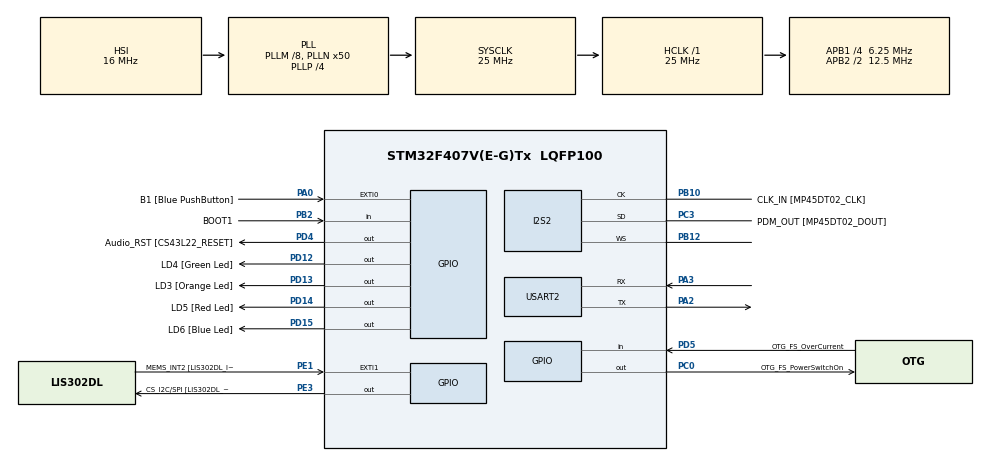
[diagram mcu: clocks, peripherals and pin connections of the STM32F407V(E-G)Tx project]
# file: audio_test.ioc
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Dma.Request0=SPI2_RX
Dma.SPI2_RX.0.Direction=DMA_PERIPH_TO_MEMORY
Dma.SPI2_RX.0.FIFOMode=DMA_FIFOMODE_DISABLE
Dma.SPI2_RX.0.Instance=DMA1_Stream3
Dma.SPI2_RX.0.MemDataAlignment=DMA_MDATAALIGN_HALFWORD
Dma.SPI2_RX.0.MemInc=DMA_MINC_ENABLE
Dma.SPI2_RX.0.Mode=DMA_CIRCULAR
Dma.SPI2_RX.0.PeriphDataAlignment=DMA_PDATAALIGN_HALFWORD
Dma.SPI2_RX.0.PeriphInc=DMA_PINC_DISABLE
Dma.SPI2_RX.0.Priority=DMA_PRIORITY_LOW
I2S2.AudioFreq=I2S_AUDIOFREQ_32K
I2S2.CPOL=I2S_CPOL_HIGH
I2S2.ErrorAudioFreq=-0.26 %
I2S2.FullDuplexMode=I2S_FULLDUPLEXMODE_DISABLE
I2S2.Instance=SPI$Index
I2S2.Mode=I2S_MODE_MASTER_RX
I2S2.RealAudioFreq=31.914 KHz
I2S2.Standard=I2S_STANDARD_LSB
I2S2.VirtualMode=I2S_MODE_MASTER
Mcu.Family=STM32F4
Mcu.Name=STM32F407V(E-G)Tx
Mcu.Package=LQFP100
NVIC.DMA1_Stream3_IRQn=true\:0\:0\:false\:false\:true\:false\:true\:true
NVIC.PriorityGroup=NVIC_PRIORITYGROUP_4
NVIC.TIM7_IRQn=true\:0\:0\:false\:false\:true\:false\:true\:true
NVIC.TimeBase=TIM7_IRQn
NVIC.TimeBaseIP=TIM7
PA0-WKUP.GPIO_Label=B1 [Blue PushButton]
PA0-WKUP.Signal=GPXTI0
PA10.GPIO_Label=OTG_FS_ID
PA10.GPIO_Mode=GPIO_MODE_AF_PP
PA10.GPIO_PuPd=GPIO_NOPULL
PA10.GPIO_Speed=GPIO_SPEED_FREQ_LOW
PA10.Signal=USB_OTG_FS_ID
PA11.GPIO_Label=OTG_FS_DM
PA11.GPIO_Mode=GPIO_MODE_AF_PP
PA11.GPIO_PuPd=GPIO_NOPULL
PA11.GPIO_Speed=GPIO_SPEED_FREQ_LOW
PA11.Signal=USB_OTG_FS_DM
PA12.GPIO_Label=OTG_FS_DP
PA12.GPIO_Mode=GPIO_MODE_AF_PP
PA12.GPIO_PuPd=GPIO_NOPULL
PA12.GPIO_Speed=GPIO_SPEED_FREQ_LOW
PA12.Signal=USB_OTG_FS_DP
PA13.GPIO_Label=SWDIO
PA13.Mode=Serial_Wire
PA13.Signal=SYS_JTMS-SWDIO
PA14.GPIO_Label=SWCLK
PA14.Mode=Serial_Wire
PA14.Signal=SYS_JTCK-SWCLK
PA2.Mode=Asynchronous
PA2.Signal=USART2_TX
PA3.Mode=Asynchronous
PA3.Signal=USART2_RX
PA4.GPIO_Label=I2S3_WS [CS43L22_LRCK]
PA4.GPIO_Mode=GPIO_MODE_AF_PP
PA4.GPIO_PuPd=GPIO_NOPULL
PA4.GPIO_Speed=GPIO_SPEED_FREQ_LOW
PA4.Signal=I2S3_WS
PA5.GPIO_Label=SPI1_SCK [LIS302DL_SCL/SPC]
PA5.GPIO_Mode=GPIO_MODE_AF_PP
PA5.GPIO_PuPd=GPIO_NOPULL
PA5.GPIO_Speed=GPIO_SPEED_FREQ_LOW
PA5.Signal=SPI1_SCK
PA6.GPIO_Label=SPI1_MISO [LIS302DL_SDO]
PA6.GPIO_Mode=GPIO_MODE_AF_PP
PA6.GPIO_PuPd=GPIO_NOPULL
PA6.GPIO_Speed=GPIO_SPEED_FREQ_LOW
PA6.Signal=SPI1_MISO
PA7.GPIO_Label=SPI1_MOSI [LIS302DL_SDA/SDI/SDO]
PA7.GPIO_Mode=GPIO_MODE_AF_PP
PA7.GPIO_PuPd=GPIO_NOPULL
PA7.GPIO_Speed=GPIO_SPEED_FREQ_LOW
PA7.Signal=SPI1_MOSI
PA9.GPIO_Label=VBUS_FS
PA9.GPIO_Mode=GPIO_MODE_INPUT
PA9.GPIO_PuPd=GPIO_NOPULL
PA9.Signal=USB_OTG_FS_VBUS
PB10.GPIO_Label=CLK_IN [MP45DT02_CLK]
PB10.GPIO_Mode=GPIO_MODE_AF_PP
PB10.GPIO_PuPd=GPIO_NOPULL
PB10.GPIO_Speed=GPIO_SPEED_FREQ_LOW
PB10.Mode=Half_Duplex_Master
PB10.Signal=I2S2_CK
PB12.Mode=Half_Duplex_Master
PB12.Signal=I2S2_WS
PB2.GPIO_Label=BOOT1
PB2.GPIO_Mode=GPIO_MODE_INPUT
PB2.GPIO_PuPd=GPIO_NOPULL
PB2.Signal=GPIO_Input
PB3.GPIO_Label=SWO
PB3.Signal=SYS_JTDO-SWO
PB6.GPIO_Label=Audio_SCL [CS43L22_SCL]
PB6.GPIO_Mode=GPIO_MODE_AF_OD
PB6.GPIO_PuPd=GPIO_NOPULL
PB6.GPIO_Speed=GPIO_SPEED_FREQ_LOW
PB6.Signal=I2C1_SCL
PB9.GPIO_Label=Audio_SDA [CS43L22_SDA]
PB9.GPIO_Mode=GPIO_MODE_AF_OD
PB9.GPIO_PuPd=GPIO_NOPULL
PB9.GPIO_Speed=GPIO_SPEED_FREQ_LOW
PB9.Signal=I2C1_SDA
PC0.GPIO_Label=OTG_FS_PowerSwitchOn
PC0.GPIO_PuPd=GPIO_NOPULL
PC0.GPIO_Speed=GPIO_SPEED_FREQ_LOW
PC0.PinState=GPIO_PIN_SET
PC0.Signal=GPIO_Output
PC10.GPIO_Label=I2S3_SCK [CS43L22_SCLK]
PC10.GPIO_Mode=GPIO_MODE_AF_PP
PC10.GPIO_PuPd=GPIO_NOPULL
PC10.GPIO_Speed=GPIO_SPEED_FREQ_LOW
PC10.Signal=I2S3_CK
PC12.GPIO_Label=I2S3_SD [CS43L22_SDIN]
PC12.GPIO_Mode=GPIO_MODE_AF_PP
PC12.GPIO_PuPd=GPIO_NOPULL
PC12.GPIO_Speed=GPIO_SPEED_FREQ_LOW
PC12.Signal=I2S3_SD
PC14-OSC32_IN.GPIO_Label=PC14-OSC32_IN
PC14-OSC32_IN.Signal=RCC_OSC32_IN
PC15-OSC32_OUT.GPIO_Label=PC15-OSC32_OUT
PC15-OSC32_OUT.Signal=RCC_OSC32_OUT
PC3.GPIO_Label=PDM_OUT [MP45DT02_DOUT]
PC3.GPIO_Mode=GPIO_MODE_AF_PP
PC3.GPIO_PuPd=GPIO_NOPULL
PC3.GPIO_Speed=GPIO_SPEED_FREQ_LOW
PC3.Mode=Half_Duplex_Master
PC3.Signal=I2S2_SD
PC7.GPIO_Label=I2S3_MCK [CS43L22_MCLK]
PC7.GPIO_Mode=GPIO_MODE_AF_PP
PC7.GPIO_PuPd=GPIO_NOPULL
PC7.GPIO_Speed=GPIO_SPEED_FREQ_LOW
PC7.Signal=I2S3_MCK
PD12.GPIO_Label=LD4 [Green Led]
PD12.GPIO_PuPd=GPIO_NOPULL
PD12.GPIO_Speed=GPIO_SPEED_FREQ_LOW
PD12.Signal=GPIO_Output
PD13.GPIO_Label=LD3 [Orange Led]
PD13.GPIO_PuPd=GPIO_NOPULL
PD13.GPIO_Speed=GPIO_SPEED_FREQ_LOW
PD13.Signal=GPIO_Output
PD14.GPIO_Label=LD5 [Red Led]
PD14.GPIO_PuPd=GPIO_NOPULL
PD14.GPIO_Speed=GPIO_SPEED_FREQ_LOW
PD14.Signal=GPIO_Output
PD15.GPIO_Label=LD6 [Blue Led]
PD15.GPIO_PuPd=GPIO_NOPULL
PD15.GPIO_Speed=GPIO_SPEED_FREQ_LOW
PD15.Signal=GPIO_Output
PD4.GPIO_Label=Audio_RST [CS43L22_RESET]
PD4.GPIO_PuPd=GPIO_NOPULL
PD4.GPIO_Speed=GPIO_SPEED_FREQ_LOW
PD4.Signal=GPIO_Output
PD5.GPIO_Label=OTG_FS_OverCurrent
PD5.GPIO_Mode=GPIO_MODE_INPUT
PD5.GPIO_PuPd=GPIO_NOPULL
PD5.Signal=GPIO_Input
PDM2PCM.CHANNEL1_endianness=PDM_FILTER_ENDIANNESS_LE
PDM2PCM.CHANNEL1_in_ptr_channels=1
PDM2PCM.CHANNEL1_mic_gain=24
PE1.GPIO_Label=MEMS_INT2 [LIS302DL_INT2]
PE1.GPIO_ModeDefaultEXTI=GPIO_MODE_EVT_RISING
PE1.GPIO_PuPd=GPIO_NOPULL
PE1.Signal=GPXTI1
PE3.GPIO_Label=CS_I2C/SPI [LIS302DL_CS_I2C/SPI]
PE3.GPIO_PuPd=GPIO_NOPULL
PE3.GPIO_Speed=GPIO_SPEED_FREQ_LOW
PE3.Signal=GPIO_Output
PH0-OSC_IN.GPIO_Label=PH0-OSC_IN
PH0-OSC_IN.Mode=HSE-External-Oscillator
PH0-OSC_IN.Signal=RCC_OSC_IN
PH1-OSC_OUT.GPIO_Label=PH1-OSC_OUT
PH1-OSC_OUT.Mode=HSE-External-Oscillator
PH1-OSC_OUT.Signal=RCC_OSC_OUT
ProjectManager.HeapSize=0x200
ProjectManager.StackSize=0x400
ProjectManager.TargetToolchain=STM32CubeIDE
RCC.48MHZClocksFreq_Value=14285714.285714285
RCC.AHBFreq_Value=25000000
RCC.APB1CLKDivider=RCC_HCLK_DIV4
RCC.APB1Freq_Value=6250000
RCC.APB1TimFreq_Value=12500000
RCC.APB2CLKDivider=RCC_HCLK_DIV2
RCC.APB2Freq_Value=12500000
RCC.APB2TimFreq_Value=25000000
RCC.CortexFreq_Value=25000000
RCC.HCLKFreq_Value=25000000
RCC.HSE_VALUE=8000000
RCC.HSI_VALUE=16000000
RCC.LSE_VALUE=32768
RCC.PLLM=8
RCC.PLLN=50
RCC.PLLP=RCC_PLLP_DIV4
RCC.PLLQ=7
RCC.SYSCLKFreq_VALUE=25000000
RCC.SYSCLKSource=RCC_SYSCLKSOURCE_PLLCLK
RCC.VCOOutputFreq_Value=100000000
USART2.VirtualMode=VM_ASYNC
VP_CRC_VS_CRC.Mode=CRC_Activate
VP_PDM2PCM_VS_PDM2PCM.Mode=PDM2PCM_Channel
VP_SYS_VS_tim7.Mode=TIM7
board=STM32F407G-DISC1

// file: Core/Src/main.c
/* USER CODE BEGIN Header */
/**
  ******************************************************************************
  * @file           : main.c
  * @brief          : Main program body
  ******************************************************************************
  * @attention
  *
  * Copyright (c) 2026 STMicroelectronics.
  * All rights reserved.
  *
  * This software is licensed under terms that can be found in the LICENSE file
  * in the root directory of this software component.
  * If no LICENSE file comes with this software, it is provided AS-IS.
  *
  ******************************************************************************
  */
/* USER CODE END Header */
#include "main.h"
#include "pdm2pcm.h"

/* USER CODE BEGIN Includes */
#include "string.h"
/* USER CODE END Includes */

/* USER CODE BEGIN PTD */
typedef enum { STATE_IDLE, STATE_RECORDING, STATE_TRANSMITTING } AppState;
/* USER CODE END PTD */

/* USER CODE BEGIN PD */
#define PDM_BUF_SIZE        128    /* DMA circular buffer size (uint16) */
#define PCM_FRAME_SIZE      32     /* 16 stereo pairs per half-transfer (left+right) */
#define MONO_FRAME_SIZE     16     /* 16 mono samples actually stored per half-transfer */
#define RECORD_MS           3000   /* recording duration in milliseconds */
#define TOTAL_PCM_SAMPLES   (RECORD_MS * MONO_FRAME_SIZE)  /* 3000 x 16 = 48000 */
/* USER CODE END PD */

CRC_HandleTypeDef hcrc;

I2S_HandleTypeDef hi2s2;
DMA_HandleTypeDef hdma_spi2_rx;

UART_HandleTypeDef huart2;

/* USER CODE BEGIN PV */
uint16_t pdmBuffer[PDM_BUF_SIZE];              /* DMA fills this in circular mode */
int16_t  pcmRecording[TOTAL_PCM_SAMPLES];      /* stores converted PCM audio */
volatile uint32_t pcmIndex      = 0;
volatile uint8_t  recordingDone = 0;
volatile AppState appState      = STATE_IDLE;
/* USER CODE END PV */

void SystemClock_Config(void);
static void MX_GPIO_Init(void);
static void MX_DMA_Init(void);
static void MX_CRC_Init(void);
static void MX_USART2_UART_Init(void);
static void MX_I2S2_Init(void);

int main(void)
{

  /* MCU Configuration--------------------------------------------------------*/

  /* Reset of all peripherals, Initializes the Flash interface and the Systick. */
  HAL_Init();

  /* Configure the system clock */
  SystemClock_Config();

  /* Initialize all configured peripherals */
  MX_GPIO_Init();
  MX_DMA_Init();
  MX_CRC_Init();
  MX_USART2_UART_Init();
  MX_I2S2_Init();
  MX_PDM2PCM_Init();
  /* USER CODE BEGIN 2 */
  /* Red LED on = waiting for button press */
  HAL_GPIO_WritePin(GPIOD, LD5_Pin, GPIO_PIN_SET);
  /* USER CODE END 2 */

  /* Infinite loop */
  while (1)
  {

    /* USER CODE BEGIN 3 */
    switch (appState)
    {
      case STATE_IDLE:
        /* Poll User button (B1 = PA0, active high) */
        if (HAL_GPIO_ReadPin(B1_GPIO_Port, B1_Pin) == GPIO_PIN_SET)
        {
          HAL_Delay(50);  /* debounce */
          if (HAL_GPIO_ReadPin(B1_GPIO_Port, B1_Pin) == GPIO_PIN_SET)
          {
            HAL_GPIO_WritePin(GPIOD, LD5_Pin, GPIO_PIN_RESET); /* Red off */
            HAL_GPIO_WritePin(GPIOD, LD4_Pin, GPIO_PIN_SET);   /* Green on = recording */
            pcmIndex      = 0;
            recordingDone = 0;
            appState      = STATE_RECORDING;
            HAL_I2S_Receive_DMA(&hi2s2, pdmBuffer, PDM_BUF_SIZE);
            /* Wait for button release before continuing */
            while (HAL_GPIO_ReadPin(B1_GPIO_Port, B1_Pin) == GPIO_PIN_SET);
          }
        }
        break;

      case STATE_RECORDING:
        if (recordingDone)
        {
          HAL_I2S_DMAStop(&hi2s2);
          HAL_GPIO_WritePin(GPIOD, LD4_Pin, GPIO_PIN_RESET); /* Green off */
          appState = STATE_TRANSMITTING;
        }
        break;

      case STATE_TRANSMITTING:
      {
        uint32_t byteCount = TOTAL_PCM_SAMPLES * sizeof(int16_t);
        uint8_t header[8] = {
          'P', 'C', 'M', '!',
          (uint8_t)(byteCount),
          (uint8_t)(byteCount >> 8),
          (uint8_t)(byteCount >> 16),
          (uint8_t)(byteCount >> 24)
        };
        HAL_GPIO_WritePin(GPIOD, LD6_Pin, GPIO_PIN_SET);   /* Blue on = transmitting */
        HAL_UART_Transmit(&huart2, header, sizeof(header), HAL_MAX_DELAY);
        HAL_UART_Transmit(&huart2, (uint8_t*)pcmRecording, byteCount, HAL_MAX_DELAY);
        HAL_GPIO_WritePin(GPIOD, LD6_Pin, GPIO_PIN_RESET); /* Blue off */

        /* Blink orange 3 times = done */
        for (int i = 0; i < 3; i++)
        {
          HAL_GPIO_WritePin(GPIOD, LD3_Pin, GPIO_PIN_SET);
          HAL_Delay(150);
          HAL_GPIO_WritePin(GPIOD, LD3_Pin, GPIO_PIN_RESET);
          HAL_Delay(150);
        }

        HAL_GPIO_WritePin(GPIOD, LD5_Pin, GPIO_PIN_SET);   /* Red on = ready */
        appState = STATE_IDLE;
        break;
      }

      default:
        break;
    }
  }
  /* USER CODE END 3 */
}

void SystemClock_Config(void)
{
  RCC_OscInitTypeDef RCC_OscInitStruct = {0};
  RCC_ClkInitTypeDef RCC_ClkInitStruct = {0};

  /** Configure the main internal regulator output voltage
  */
  __HAL_RCC_PWR_CLK_ENABLE();
  __HAL_PWR_VOLTAGESCALING_CONFIG(PWR_REGULATOR_VOLTAGE_SCALE1);

  /** Initializes the RCC Oscillators according to the specified parameters
  * in the RCC_OscInitTypeDef structure.
  */
  RCC_OscInitStruct.OscillatorType = RCC_OSCILLATORTYPE_HSI;
  RCC_OscInitStruct.HSIState = RCC_HSI_ON;
  RCC_OscInitStruct.HSICalibrationValue = RCC_HSICALIBRATION_DEFAULT;
  RCC_OscInitStruct.PLL.PLLState = RCC_PLL_ON;
  RCC_OscInitStruct.PLL.PLLSource = RCC_PLLSOURCE_HSI;
  RCC_OscInitStruct.PLL.PLLM = 8;
  RCC_OscInitStruct.PLL.PLLN = 50;
  RCC_OscInitStruct.PLL.PLLP = RCC_PLLP_DIV4;
  RCC_OscInitStruct.PLL.PLLQ = 7;
  if (HAL_RCC_OscConfig(&RCC_OscInitStruct) != HAL_OK)
  {
    Error_Handler();
  }

  /** Initializes the CPU, AHB and APB buses clocks
  */
  RCC_ClkInitStruct.ClockType = RCC_CLOCKTYPE_HCLK|RCC_CLOCKTYPE_SYSCLK
                              |RCC_CLOCKTYPE_PCLK1|RCC_CLOCKTYPE_PCLK2;
  RCC_ClkInitStruct.SYSCLKSource = RCC_SYSCLKSOURCE_PLLCLK;
  RCC_ClkInitStruct.AHBCLKDivider = RCC_SYSCLK_DIV1;
  RCC_ClkInitStruct.APB1CLKDivider = RCC_HCLK_DIV4;
  RCC_ClkInitStruct.APB2CLKDivider = RCC_HCLK_DIV2;

  if (HAL_RCC_ClockConfig(&RCC_ClkInitStruct, FLASH_LATENCY_0) != HAL_OK)
  {
    Error_Handler();
  }
}

static void MX_CRC_Init(void)
{

  hcrc.Instance = CRC;
  if (HAL_CRC_Init(&hcrc) != HAL_OK)
  {
    Error_Handler();
  }
  __HAL_CRC_DR_RESET(&hcrc);

}

static void MX_I2S2_Init(void)
{

  hi2s2.Instance = SPI2;
  hi2s2.Init.Mode = I2S_MODE_MASTER_RX;
  hi2s2.Init.Standard = I2S_STANDARD_LSB;
  hi2s2.Init.DataFormat = I2S_DATAFORMAT_16B;
  hi2s2.Init.MCLKOutput = I2S_MCLKOUTPUT_DISABLE;
  hi2s2.Init.AudioFreq = I2S_AUDIOFREQ_32K;
  hi2s2.Init.CPOL = I2S_CPOL_HIGH;
  hi2s2.Init.ClockSource = I2S_CLOCK_PLL;
  hi2s2.Init.FullDuplexMode = I2S_FULLDUPLEXMODE_DISABLE;
  if (HAL_I2S_Init(&hi2s2) != HAL_OK)
  {
    Error_Handler();
  }

}

static void MX_USART2_UART_Init(void)
{

  huart2.Instance = USART2;
  huart2.Init.BaudRate = 115200;
  huart2.Init.WordLength = UART_WORDLENGTH_8B;
  huart2.Init.StopBits = UART_STOPBITS_1;
  huart2.Init.Parity = UART_PARITY_NONE;
  huart2.Init.Mode = UART_MODE_TX_RX;
  huart2.Init.HwFlowCtl = UART_HWCONTROL_NONE;
  huart2.Init.OverSampling = UART_OVERSAMPLING_16;
  if (HAL_UART_Init(&huart2) != HAL_OK)
  {
    Error_Handler();
  }

}

static void MX_DMA_Init(void)
{

  /* DMA controller clock enable */
  __HAL_RCC_DMA1_CLK_ENABLE();

  /* DMA interrupt init */
  /* DMA1_Stream3_IRQn interrupt configuration */
  HAL_NVIC_SetPriority(DMA1_Stream3_IRQn, 0, 0);
  HAL_NVIC_EnableIRQ(DMA1_Stream3_IRQn);

}

static void MX_GPIO_Init(void)
{
  GPIO_InitTypeDef GPIO_InitStruct = {0};

  /* GPIO Ports Clock Enable */
  __HAL_RCC_GPIOE_CLK_ENABLE();
  __HAL_RCC_GPIOC_CLK_ENABLE();
  __HAL_RCC_GPIOH_CLK_ENABLE();
  __HAL_RCC_GPIOA_CLK_ENABLE();
  __HAL_RCC_GPIOB_CLK_ENABLE();
  __HAL_RCC_GPIOD_CLK_ENABLE();

  /*Configure GPIO pin Output Level */
  HAL_GPIO_WritePin(CS_I2C_SPI_GPIO_Port, CS_I2C_SPI_Pin, GPIO_PIN_RESET);

  /*Configure GPIO pin Output Level */
  HAL_GPIO_WritePin(OTG_FS_PowerSwitchOn_GPIO_Port, OTG_FS_PowerSwitchOn_Pin, GPIO_PIN_SET);

  /*Configure GPIO pin Output Level */
  HAL_GPIO_WritePin(GPIOD, LD4_Pin|LD3_Pin|LD5_Pin|LD6_Pin
                          |Audio_RST_Pin, GPIO_PIN_RESET);

  /*Configure GPIO pin : CS_I2C_SPI_Pin */
  GPIO_InitStruct.Pin = CS_I2C_SPI_Pin;
  GPIO_InitStruct.Mode = GPIO_MODE_OUTPUT_PP;
  GPIO_InitStruct.Pull = GPIO_NOPULL;
  GPIO_InitStruct.Speed = GPIO_SPEED_FREQ_LOW;
  HAL_GPIO_Init(CS_I2C_SPI_GPIO_Port, &GPIO_InitStruct);

  /*Configure GPIO pin : OTG_FS_PowerSwitchOn_Pin */
  GPIO_InitStruct.Pin = OTG_FS_PowerSwitchOn_Pin;
  GPIO_InitStruct.Mode = GPIO_MODE_OUTPUT_PP;
  GPIO_InitStruct.Pull = GPIO_NOPULL;
  GPIO_InitStruct.Speed = GPIO_SPEED_FREQ_LOW;
  HAL_GPIO_Init(OTG_FS_PowerSwitchOn_GPIO_Port, &GPIO_InitStruct);

  /*Configure GPIO pin : B1_Pin */
  GPIO_InitStruct.Pin = B1_Pin;
  GPIO_InitStruct.Mode = GPIO_MODE_IT_RISING;
  GPIO_InitStruct.Pull = GPIO_NOPULL;
  HAL_GPIO_Init(B1_GPIO_Port, &GPIO_InitStruct);

  /*Configure GPIO pin : I2S3_WS_Pin */
  GPIO_InitStruct.Pin = I2S3_WS_Pin;
  GPIO_InitStruct.Mode = GPIO_MODE_AF_PP;
  GPIO_InitStruct.Pull = GPIO_NOPULL;
  GPIO_InitStruct.Speed = GPIO_SPEED_FREQ_LOW;
  GPIO_InitStruct.Alternate = GPIO_AF6_SPI3;
  HAL_GPIO_Init(I2S3_WS_GPIO_Port, &GPIO_InitStruct);

  /*Configure GPIO pins : SPI1_SCK_Pin SPI1_MISO_Pin SPI1_MOSI_Pin */
  GPIO_InitStruct.Pin = SPI1_SCK_Pin|SPI1_MISO_Pin|SPI1_MOSI_Pin;
  GPIO_InitStruct.Mode = GPIO_MODE_AF_PP;
  GPIO_InitStruct.Pull = GPIO_NOPULL;
  GPIO_InitStruct.Speed = GPIO_SPEED_FREQ_LOW;
  GPIO_InitStruct.Alternate = GPIO_AF5_SPI1;
  HAL_GPIO_Init(GPIOA, &GPIO_InitStruct);

  /*Configure GPIO pin : BOOT1_Pin */
  GPIO_InitStruct.Pin = BOOT1_Pin;
  GPIO_InitStruct.Mode = GPIO_MODE_INPUT;
  GPIO_InitStruct.Pull = GPIO_NOPULL;
  HAL_GPIO_Init(BOOT1_GPIO_Port, &GPIO_InitStruct);

  /*Configure GPIO pins : LD4_Pin LD3_Pin LD5_Pin LD6_Pin
                           Audio_RST_Pin */
  GPIO_InitStruct.Pin = LD4_Pin|LD3_Pin|LD5_Pin|LD6_Pin
                          |Audio_RST_Pin;
  GPIO_InitStruct.Mode = GPIO_MODE_OUTPUT_PP;
  GPIO_InitStruct.Pull = GPIO_NOPULL;
  GPIO_InitStruct.Speed = GPIO_SPEED_FREQ_LOW;
  HAL_GPIO_Init(GPIOD, &GPIO_InitStruct);

  /*Configure GPIO pins : I2S3_MCK_Pin I2S3_SCK_Pin I2S3_SD_Pin */
  GPIO_InitStruct.Pin = I2S3_MCK_Pin|I2S3_SCK_Pin|I2S3_SD_Pin;
  GPIO_InitStruct.Mode = GPIO_MODE_AF_PP;
  GPIO_InitStruct.Pull = GPIO_NOPULL;
  GPIO_InitStruct.Speed = GPIO_SPEED_FREQ_LOW;
  GPIO_InitStruct.Alternate = GPIO_AF6_SPI3;
  HAL_GPIO_Init(GPIOC, &GPIO_InitStruct);

  /*Configure GPIO pin : VBUS_FS_Pin */
  GPIO_InitStruct.Pin = VBUS_FS_Pin;
  GPIO_InitStruct.Mode = GPIO_MODE_INPUT;
  GPIO_InitStruct.Pull = GPIO_NOPULL;
  HAL_GPIO_Init(VBUS_FS_GPIO_Port, &GPIO_InitStruct);

  /*Configure GPIO pins : OTG_FS_ID_Pin OTG_FS_DM_Pin OTG_FS_DP_Pin */
  GPIO_InitStruct.Pin = OTG_FS_ID_Pin|OTG_FS_DM_Pin|OTG_FS_DP_Pin;
  GPIO_InitStruct.Mode = GPIO_MODE_AF_PP;
  GPIO_InitStruct.Pull = GPIO_NOPULL;
  GPIO_InitStruct.Speed = GPIO_SPEED_FREQ_LOW;
  GPIO_InitStruct.Alternate = GPIO_AF10_OTG_FS;
  HAL_GPIO_Init(GPIOA, &GPIO_InitStruct);

  /*Configure GPIO pin : OTG_FS_OverCurrent_Pin */
  GPIO_InitStruct.Pin = OTG_FS_OverCurrent_Pin;
  GPIO_InitStruct.Mode = GPIO_MODE_INPUT;
  GPIO_InitStruct.Pull = GPIO_NOPULL;
  HAL_GPIO_Init(OTG_FS_OverCurrent_GPIO_Port, &GPIO_InitStruct);

  /*Configure GPIO pins : Audio_SCL_Pin Audio_SDA_Pin */
  GPIO_InitStruct.Pin = Audio_SCL_Pin|Audio_SDA_Pin;
  GPIO_InitStruct.Mode = GPIO_MODE_AF_OD;
  GPIO_InitStruct.Pull = GPIO_NOPULL;
  GPIO_InitStruct.Speed = GPIO_SPEED_FREQ_LOW;
  GPIO_InitStruct.Alternate = GPIO_AF4_I2C1;
  HAL_GPIO_Init(GPIOB, &GPIO_InitStruct);

  /*Configure GPIO pin : MEMS_INT2_Pin */
  GPIO_InitStruct.Pin = MEMS_INT2_Pin;
  GPIO_InitStruct.Mode = GPIO_MODE_EVT_RISING;
  GPIO_InitStruct.Pull = GPIO_NOPULL;
  HAL_GPIO_Init(MEMS_INT2_GPIO_Port, &GPIO_InitStruct);

}

/* USER CODE BEGIN 4 */
static void processPDMHalf(uint16_t *pPDM)
{
  static uint16_t pcmTemp[PCM_FRAME_SIZE];  /* 32 entries: stereo from filter */

  if (appState != STATE_RECORDING || recordingDone) return;

  MX_PDM2PCM_Process(pPDM, pcmTemp);

  /* Extract left channel only (even indices): 16 mono samples per call */
  uint32_t remaining = TOTAL_PCM_SAMPLES - pcmIndex;
  uint32_t toCopy    = (remaining < MONO_FRAME_SIZE) ? remaining : MONO_FRAME_SIZE;
  for (uint32_t i = 0; i < toCopy; i++)
    pcmRecording[pcmIndex + i] = (int16_t)pcmTemp[i * 2];
  pcmIndex += toCopy;

  if (pcmIndex >= TOTAL_PCM_SAMPLES)
    recordingDone = 1;
}

void HAL_I2S_RxHalfCpltCallback(I2S_HandleTypeDef *hi2s)
{
  if (hi2s->Instance == SPI2)
    processPDMHalf(&pdmBuffer[0]);             /* first half ready */
}

void HAL_I2S_RxCpltCallback(I2S_HandleTypeDef *hi2s)
{
  if (hi2s->Instance == SPI2)
    processPDMHalf(&pdmBuffer[PDM_BUF_SIZE / 2]); /* second half ready */
}
/* USER CODE END 4 */

void HAL_TIM_PeriodElapsedCallback(TIM_HandleTypeDef *htim)
{
  if (htim->Instance == TIM7) {
    HAL_IncTick();
  }
}

void Error_Handler(void)
{
  __disable_irq();
  while (1)
  {
  }
}
